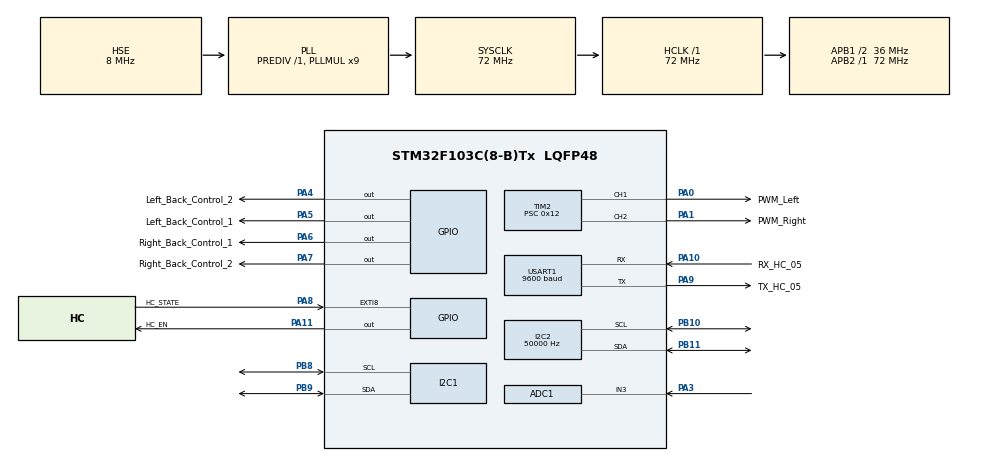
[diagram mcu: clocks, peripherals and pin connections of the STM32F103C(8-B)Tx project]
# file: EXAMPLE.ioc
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ADC1.Channel-1\#ChannelRegularConversion=ADC_CHANNEL_3
ADC1.ContinuousConvMode=DISABLE
ADC1.EnableRegularConversion=ENABLE
ADC1.NbrOfConversionFlag=1
ADC1.Rank-1\#ChannelRegularConversion=1
ADC1.SamplingTime-1\#ChannelRegularConversion=ADC_SAMPLETIME_1CYCLE_5
ADC1.master=1
Dma.ADC1.2.Direction=DMA_PERIPH_TO_MEMORY
Dma.ADC1.2.Instance=DMA1_Channel1
Dma.ADC1.2.MemDataAlignment=DMA_MDATAALIGN_HALFWORD
Dma.ADC1.2.MemInc=DMA_MINC_ENABLE
Dma.ADC1.2.Mode=DMA_NORMAL
Dma.ADC1.2.PeriphDataAlignment=DMA_PDATAALIGN_HALFWORD
Dma.ADC1.2.PeriphInc=DMA_PINC_DISABLE
Dma.ADC1.2.Priority=DMA_PRIORITY_LOW
Dma.I2C2_RX.0.Direction=DMA_PERIPH_TO_MEMORY
Dma.I2C2_RX.0.Instance=DMA1_Channel5
Dma.I2C2_RX.0.MemDataAlignment=DMA_MDATAALIGN_BYTE
Dma.I2C2_RX.0.MemInc=DMA_MINC_ENABLE
Dma.I2C2_RX.0.Mode=DMA_NORMAL
Dma.I2C2_RX.0.PeriphDataAlignment=DMA_PDATAALIGN_BYTE
Dma.I2C2_RX.0.PeriphInc=DMA_PINC_DISABLE
Dma.I2C2_RX.0.Priority=DMA_PRIORITY_MEDIUM
Dma.I2C2_TX.1.Direction=DMA_MEMORY_TO_PERIPH
Dma.I2C2_TX.1.Instance=DMA1_Channel4
Dma.I2C2_TX.1.MemDataAlignment=DMA_MDATAALIGN_BYTE
Dma.I2C2_TX.1.MemInc=DMA_MINC_DISABLE
Dma.I2C2_TX.1.Mode=DMA_NORMAL
Dma.I2C2_TX.1.PeriphDataAlignment=DMA_PDATAALIGN_BYTE
Dma.I2C2_TX.1.PeriphInc=DMA_PINC_DISABLE
Dma.I2C2_TX.1.Priority=DMA_PRIORITY_MEDIUM
Dma.Request0=I2C2_RX
Dma.Request1=I2C2_TX
Dma.Request2=ADC1
FREERTOS.Tasks01=defaultTask,24,128,StartDefaultTask,Default,NULL,Dynamic,NULL,NULL
FREERTOS.configENABLE_BACKWARD_COMPATIBILITY=0
FREERTOS.configIDLE_SHOULD_YIELD=0
FREERTOS.configTICK_RATE_HZ=100
FREERTOS.configTIMER_TASK_PRIORITY=31
FREERTOS.configUSE_NEWLIB_REENTRANT=1
I2C2.ClockSpeed=50000
Mcu.Family=STM32F1
Mcu.Name=STM32F103C(8-B)Tx
Mcu.Package=LQFP48
NVIC.DMA1_Channel1_IRQn=true\:5\:0\:false\:false\:true\:true\:false\:true\:true
NVIC.DMA1_Channel4_IRQn=true\:5\:0\:false\:false\:true\:true\:false\:true\:true
NVIC.DMA1_Channel5_IRQn=true\:5\:0\:false\:false\:true\:true\:false\:true\:true
NVIC.I2C2_EV_IRQn=true\:5\:0\:false\:false\:true\:true\:true\:true\:true
NVIC.PriorityGroup=NVIC_PRIORITYGROUP_4
NVIC.USART1_IRQn=true\:5\:0\:false\:false\:true\:true\:true\:false\:false
PA0-WKUP.GPIO_Label=PWM_Left
PA0-WKUP.Signal=S_TIM2_CH1_ETR
PA1.GPIO_Label=PWM_Right
PA1.Signal=S_TIM2_CH2
PA10.GPIO_Label=RX_HC_05
PA10.Mode=Asynchronous
PA10.Signal=USART1_RX
PA11.GPIO_Label=HC_EN
PA11.GPIO_PuPd=GPIO_PULLDOWN
PA11.Signal=GPIO_Output
PA13.Mode=Serial_Wire
PA13.Signal=SYS_JTMS-SWDIO
PA14.Mode=Serial_Wire
PA14.Signal=SYS_JTCK-SWCLK
PA3.Signal=ADCx_IN3
PA4.GPIO_Label=Left_Back_Control_2
PA4.GPIO_ModeDefaultOutputPP=GPIO_MODE_OUTPUT_PP
PA4.GPIO_PuPd=GPIO_PULLDOWN
PA4.GPIO_Speed=GPIO_SPEED_FREQ_MEDIUM
PA4.Signal=GPIO_Output
PA5.GPIO_Label=Left_Back_Control_1
PA5.GPIO_PuPd=GPIO_PULLDOWN
PA5.GPIO_Speed=GPIO_SPEED_FREQ_MEDIUM
PA5.Signal=GPIO_Output
PA6.GPIO_Label=Right_Back_Control_1
PA6.GPIO_ModeDefaultOutputPP=GPIO_MODE_OUTPUT_PP
PA6.GPIO_PuPd=GPIO_PULLDOWN
PA6.GPIO_Speed=GPIO_SPEED_FREQ_MEDIUM
PA6.Signal=GPIO_Output
PA7.GPIO_Label=Right_Back_Control_2
PA7.GPIO_ModeDefaultOutputPP=GPIO_MODE_OUTPUT_PP
PA7.GPIO_PuPd=GPIO_PULLDOWN
PA7.GPIO_Speed=GPIO_SPEED_FREQ_MEDIUM
PA7.Signal=GPIO_Output
PA8.GPIO_Label=HC_STATE
PA8.GPIO_ModeDefaultEXTI=GPIO_MODE_IT_RISING_FALLING
PA8.GPIO_PuPd=GPIO_PULLDOWN
PA8.Signal=GPXTI8
PA9.GPIO_Label=TX_HC_05
PA9.Mode=Asynchronous
PA9.Signal=USART1_TX
PB10.Mode=I2C
PB10.Signal=I2C2_SCL
PB11.Mode=I2C
PB11.Signal=I2C2_SDA
PB8.Mode=I2C
PB8.Signal=I2C1_SCL
PB9.Mode=I2C
PB9.Signal=I2C1_SDA
PC14-OSC32_IN.Mode=LSE-External-Oscillator
PC14-OSC32_IN.Signal=RCC_OSC32_IN
PC15-OSC32_OUT.Mode=LSE-External-Oscillator
PC15-OSC32_OUT.Signal=RCC_OSC32_OUT
PD0-OSC_IN.Mode=HSE-External-Oscillator
PD0-OSC_IN.Signal=RCC_OSC_IN
PD1-OSC_OUT.Mode=HSE-External-Oscillator
PD1-OSC_OUT.Signal=RCC_OSC_OUT
ProjectManager.HeapSize=0x200
ProjectManager.StackSize=0x400
ProjectManager.TargetToolchain=STM32CubeIDE
RCC.ADCPresc=RCC_ADCPCLK2_DIV6
RCC.AHBFreq_Value=72000000
RCC.APB1CLKDivider=RCC_HCLK_DIV2
RCC.APB1Freq_Value=36000000
RCC.APB1TimFreq_Value=72000000
RCC.APB2Freq_Value=72000000
RCC.APB2TimFreq_Value=72000000
RCC.HCLKFreq_Value=72000000
RCC.PLLMUL=RCC_PLL_MUL9
RCC.PLLSourceVirtual=RCC_PLLSOURCE_HSE
RCC.SYSCLKFreq_VALUE=72000000
RCC.SYSCLKSource=RCC_SYSCLKSOURCE_PLLCLK
RCC.USBFreq_Value=72000000
SH.ADCx_IN3.0=ADC1_IN3,IN3
SH.S_TIM2_CH1_ETR.0=TIM2_CH1,PWM Generation1 CH1
SH.S_TIM2_CH2.0=TIM2_CH2,PWM Generation2 CH2
TIM2.AutoReloadPreload=TIM_AUTORELOAD_PRELOAD_ENABLE
TIM2.Channel-PWM\ Generation1\ CH1=TIM_CHANNEL_1
TIM2.Channel-PWM\ Generation2\ CH2=TIM_CHANNEL_2
TIM2.ClockDivision=TIM_CLOCKDIVISION_DIV4
TIM2.Period=99
TIM2.Prescaler=0x12
TIM2.Pulse-PWM\ Generation1\ CH1=32
TIM2.Pulse-PWM\ Generation2\ CH2=0x32
USART1.BaudRate=9600
USART1.VirtualMode=VM_ASYNC
VP_FREERTOS_VS_CMSIS_V2.Mode=CMSIS_V2
board=custom

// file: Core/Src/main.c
/* USER CODE BEGIN Header */
/**
  ******************************************************************************
  * @file           : main.c
  * @brief          : Main program body
  ******************************************************************************
  * @attention
  *
  * Copyright (c) 2024 STMicroelectronics.
  * All rights reserved.
  *
  * This software is licensed under terms that can be found in the LICENSE file
  * in the root directory of this software component.
  * If no LICENSE file comes with this software, it is provided AS-IS.
  *
  ******************************************************************************
  */
/* USER CODE END Header */
#include "main.h"
#include "cmsis_os.h"
#include "adc.h"
#include "dma.h"
#include "i2c.h"
#include "tim.h"
#include "usart.h"
#include "gpio.h"

/* USER CODE BEGIN Includes */
#include "OLED.h"
#include "HC_05.h"
#include "MPU6050.h"
#include "Control.h"
#include "US-016.h"
/* USER CODE END Includes */

/* USER CODE BEGIN PV */
int16_t Pluse_Value0=0;
int16_t Pluse_Value1=0;
/* USER CODE END PV */

void SystemClock_Config(void);
void MX_FREERTOS_Init(void);

int main(void)
{

  /* MCU Configuration--------------------------------------------------------*/

  /* Reset of all peripherals, Initializes the Flash interface and the Systick. */
  HAL_Init();

  /* Configure the system clock */
  SystemClock_Config();

  /* Initialize all configured peripherals */
  MX_GPIO_Init();
  MX_DMA_Init();
  MX_I2C1_Init();
  MX_USART1_UART_Init();
  MX_I2C2_Init();
  MX_TIM2_Init();
  MX_ADC1_Init();
  /* USER CODE BEGIN 2 */
  HAL_ADC_MspInit(&hadc1);
  OLED_Init();
  OLED_ShowString(1,1,"test");
  HAL_TIM_PWM_Start(&htim2,TIM_CHANNEL_1);
  HAL_TIM_PWM_Start(&htim2,TIM_CHANNEL_2);
  Control_Run(0,0);
  Control_Run(1,0);
  US106_GetData_3m();
  OLED_ShowNum(2,1,US106_Data[0],8);
  __HAL_UART_ENABLE_IT(&huart1,UART_IT_RXNE);

  /* USER CODE END 2 */

  /* Init scheduler */
  osKernelInitialize();

  /* Call init function for freertos objects (in freertos.c) */
  MX_FREERTOS_Init();

  /* Start scheduler */
  osKernelStart();

  /* We should never get here as control is now taken by the scheduler */
  /* Infinite loop */
  while (1)
  {

  }
}

void SystemClock_Config(void)
{
  RCC_OscInitTypeDef RCC_OscInitStruct = {0};
  RCC_ClkInitTypeDef RCC_ClkInitStruct = {0};
  RCC_PeriphCLKInitTypeDef PeriphClkInit = {0};

  /** Initializes the RCC Oscillators according to the specified parameters
  * in the RCC_OscInitTypeDef structure.
  */
  RCC_OscInitStruct.OscillatorType = RCC_OSCILLATORTYPE_HSE;
  RCC_OscInitStruct.HSEState = RCC_HSE_ON;
  RCC_OscInitStruct.HSEPredivValue = RCC_HSE_PREDIV_DIV1;
  RCC_OscInitStruct.HSIState = RCC_HSI_ON;
  RCC_OscInitStruct.PLL.PLLState = RCC_PLL_ON;
  RCC_OscInitStruct.PLL.PLLSource = RCC_PLLSOURCE_HSE;
  RCC_OscInitStruct.PLL.PLLMUL = RCC_PLL_MUL9;
  if (HAL_RCC_OscConfig(&RCC_OscInitStruct) != HAL_OK)
  {
    Error_Handler();
  }

  /** Initializes the CPU, AHB and APB buses clocks
  */
  RCC_ClkInitStruct.ClockType = RCC_CLOCKTYPE_HCLK|RCC_CLOCKTYPE_SYSCLK
                              |RCC_CLOCKTYPE_PCLK1|RCC_CLOCKTYPE_PCLK2;
  RCC_ClkInitStruct.SYSCLKSource = RCC_SYSCLKSOURCE_PLLCLK;
  RCC_ClkInitStruct.AHBCLKDivider = RCC_SYSCLK_DIV1;
  RCC_ClkInitStruct.APB1CLKDivider = RCC_HCLK_DIV2;
  RCC_ClkInitStruct.APB2CLKDivider = RCC_HCLK_DIV1;

  if (HAL_RCC_ClockConfig(&RCC_ClkInitStruct, FLASH_LATENCY_2) != HAL_OK)
  {
    Error_Handler();
  }
  PeriphClkInit.PeriphClockSelection = RCC_PERIPHCLK_ADC;
  PeriphClkInit.AdcClockSelection = RCC_ADCPCLK2_DIV6;
  if (HAL_RCCEx_PeriphCLKConfig(&PeriphClkInit) != HAL_OK)
  {
    Error_Handler();
  }
}

void Error_Handler(void)
{
  __disable_irq();
  while (1)
  {
  }
}
